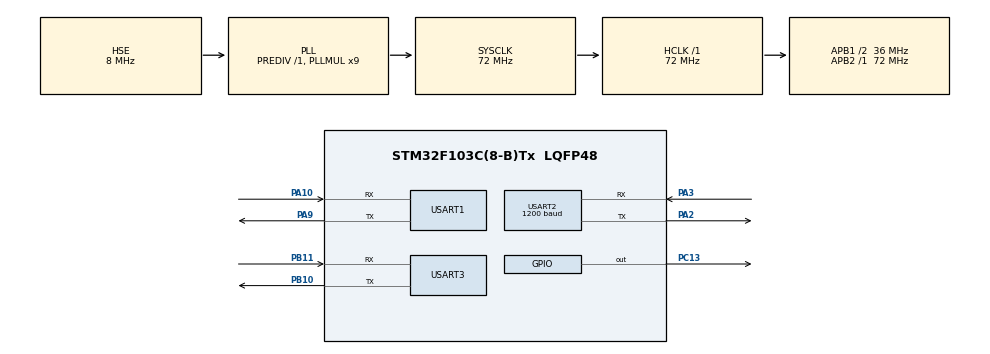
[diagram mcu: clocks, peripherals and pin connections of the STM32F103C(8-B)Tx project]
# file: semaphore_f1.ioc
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FREERTOS.Tasks01=defaultTask,0,128,StartDefaultTask,Default,NULL,Dynamic,NULL,NULL
Mcu.Family=STM32F1
Mcu.Name=STM32F103C(8-B)Tx
Mcu.Package=LQFP48
NVIC.PriorityGroup=NVIC_PRIORITYGROUP_4
NVIC.TIM2_IRQn=true\:15\:0\:false\:false\:true\:false\:false\:true\:true
NVIC.TimeBase=TIM2_IRQn
NVIC.TimeBaseIP=TIM2
NVIC.USART1_IRQn=true\:5\:0\:false\:false\:true\:true\:true\:true\:true
NVIC.USART3_IRQn=true\:5\:0\:false\:false\:true\:true\:true\:true\:true
PA10.Mode=Asynchronous
PA10.Signal=USART1_RX
PA13.Mode=Serial_Wire
PA13.Signal=SYS_JTMS-SWDIO
PA14.Mode=Serial_Wire
PA14.Signal=SYS_JTCK-SWCLK
PA2.Mode=Asynchronous
PA2.Signal=USART2_TX
PA3.Mode=Asynchronous
PA3.Signal=USART2_RX
PA9.Mode=Asynchronous
PA9.Signal=USART1_TX
PB10.Mode=Asynchronous
PB10.Signal=USART3_TX
PB11.Mode=Asynchronous
PB11.Signal=USART3_RX
PC13-TAMPER-RTC.Signal=GPIO_Output
PD0-OSC_IN.Mode=HSE-External-Oscillator
PD0-OSC_IN.Signal=RCC_OSC_IN
PD1-OSC_OUT.Mode=HSE-External-Oscillator
PD1-OSC_OUT.Signal=RCC_OSC_OUT
ProjectManager.HeapSize=0x200
ProjectManager.StackSize=0x400
ProjectManager.TargetToolchain=STM32CubeIDE
RCC.AHBFreq_Value=72000000
RCC.APB1CLKDivider=RCC_HCLK_DIV2
RCC.APB1Freq_Value=36000000
RCC.APB1TimFreq_Value=72000000
RCC.APB2Freq_Value=72000000
RCC.APB2TimFreq_Value=72000000
RCC.HCLKFreq_Value=72000000
RCC.PLLMUL=RCC_PLL_MUL9
RCC.PLLSourceVirtual=RCC_PLLSOURCE_HSE
RCC.SYSCLKFreq_VALUE=72000000
RCC.SYSCLKSource=RCC_SYSCLKSOURCE_PLLCLK
RCC.USBFreq_Value=72000000
USART1.VirtualMode=VM_ASYNC
USART2.BaudRate=1200
USART2.VirtualMode=VM_ASYNC
USART3.VirtualMode=VM_ASYNC
VP_FREERTOS_VS_CMSIS_V1.Mode=CMSIS_V1
VP_SYS_VS_tim2.Mode=TIM2
board=custom

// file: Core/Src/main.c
/* USER CODE BEGIN Header */
/**
 ******************************************************************************
 * @file           : main.c
 * @brief          : Main program body
 ******************************************************************************
 * @attention
 *
 * Copyright (c) 2023 STMicroelectronics.
 * All rights reserved.
 *
 * This software is licensed under terms that can be found in the LICENSE file
 * in the root directory of this software component.
 * If no LICENSE file comes with this software, it is provided AS-IS.
 *
 ******************************************************************************
 */
/* USER CODE END Header */
#include "main.h"
#include "cmsis_os.h"

/* USER CODE BEGIN Includes */
#include <stdio.h>
#include <stdlib.h>
#include <string.h>
/* USER CODE END Includes */

UART_HandleTypeDef huart1;
UART_HandleTypeDef huart2;
UART_HandleTypeDef huart3;

osThreadId defaultTaskHandle;
/* USER CODE BEGIN PV */
TaskHandle_t uart1_handle;
TaskHandle_t uart3_handle;

TaskHandle_t receive_handle;

SemaphoreHandle_t mySem_uart1;
SemaphoreHandle_t mySem_uart3;

QueueHandle_t myQueue;

uint8_t data1, data3;
uint8_t index1 = 0, index3 = 0;
uint8_t item1[50] = {0}, item3[50] = {0};

char str[50];
char user_msg[100] = {0};

uint8_t space;
/* USER CODE END PV */

void SystemClock_Config(void);
static void MX_GPIO_Init(void);
static void MX_USART2_UART_Init(void);
static void MX_USART1_UART_Init(void);
static void MX_USART3_UART_Init(void);

/* USER CODE BEGIN PFP */
void receive_uart1(void);
void receive_uart3(void);
void receive_task(void);
/* USER CODE END PFP */

int main(void)
{
  /* USER CODE BEGIN 1 */
  BaseType_t status;
  /* USER CODE END 1 */

  /* MCU Configuration--------------------------------------------------------*/

  /* Reset of all peripherals, Initializes the Flash interface and the Systick. */
  HAL_Init();

  /* Configure the system clock */
  SystemClock_Config();

  /* Initialize all configured peripherals */
  MX_GPIO_Init();
  MX_USART2_UART_Init();
  MX_USART1_UART_Init();
  MX_USART3_UART_Init();

  /* USER CODE BEGIN RTOS_SEMAPHORES */
  /* add semaphores, ... */
  vSemaphoreCreateBinary(mySem_uart1);
  vSemaphoreCreateBinary(mySem_uart3);
  /* USER CODE END RTOS_SEMAPHORES */

  /* USER CODE BEGIN RTOS_QUEUES */
  /* add queues, ... */
  myQueue = xQueueCreate(10, sizeof(item1));
  /* USER CODE END RTOS_QUEUES */

  /* Create the thread(s) */
  /* definition and creation of defaultTask */

  /* USER CODE BEGIN RTOS_THREADS */
  /* add threads, ... */
  if (mySem_uart1 != NULL && mySem_uart3 != NULL && myQueue != NULL)
  {
    status = xTaskCreate(receive_uart1, "Task receive uart 1", 128, NULL, 2, uart1_handle);
    configASSERT(status == pdPASS);
    status = xTaskCreate(receive_uart3, "Task receive uart 3", 128, NULL, 2, uart3_handle);
    configASSERT(status == pdPASS);
    status = xTaskCreate(receive_task, "Task receive", 128, NULL, 1, receive_handle);
    configASSERT(status == pdPASS);
  }
  else
  {
    sprintf(user_msg, "Queue/ Semaphore are not created!\r\n");
    HAL_UART_Transmit(&huart2, (uint8_t *)user_msg, strlen(user_msg), 1000);
  }

  HAL_UART_Receive_IT(&huart1, &data1, 1);
  HAL_UART_Receive_IT(&huart3, &data3, 1);
  /* USER CODE END RTOS_THREADS */

  /* Start scheduler */
  osKernelStart();
  /* We should never get here as control is now taken by the scheduler */
  /* Infinite loop */
  while (1)
  {

  }
}

void SystemClock_Config(void)
{
  RCC_OscInitTypeDef RCC_OscInitStruct = {0};
  RCC_ClkInitTypeDef RCC_ClkInitStruct = {0};

  /** Initializes the RCC Oscillators according to the specified parameters
   * in the RCC_OscInitTypeDef structure.
   */
  RCC_OscInitStruct.OscillatorType = RCC_OSCILLATORTYPE_HSE;
  RCC_OscInitStruct.HSEState = RCC_HSE_ON;
  RCC_OscInitStruct.HSEPredivValue = RCC_HSE_PREDIV_DIV1;
  RCC_OscInitStruct.HSIState = RCC_HSI_ON;
  RCC_OscInitStruct.PLL.PLLState = RCC_PLL_ON;
  RCC_OscInitStruct.PLL.PLLSource = RCC_PLLSOURCE_HSE;
  RCC_OscInitStruct.PLL.PLLMUL = RCC_PLL_MUL9;
  if (HAL_RCC_OscConfig(&RCC_OscInitStruct) != HAL_OK)
  {
    Error_Handler();
  }

  /** Initializes the CPU, AHB and APB buses clocks
   */
  RCC_ClkInitStruct.ClockType = RCC_CLOCKTYPE_HCLK | RCC_CLOCKTYPE_SYSCLK | RCC_CLOCKTYPE_PCLK1 | RCC_CLOCKTYPE_PCLK2;
  RCC_ClkInitStruct.SYSCLKSource = RCC_SYSCLKSOURCE_PLLCLK;
  RCC_ClkInitStruct.AHBCLKDivider = RCC_SYSCLK_DIV1;
  RCC_ClkInitStruct.APB1CLKDivider = RCC_HCLK_DIV2;
  RCC_ClkInitStruct.APB2CLKDivider = RCC_HCLK_DIV1;

  if (HAL_RCC_ClockConfig(&RCC_ClkInitStruct, FLASH_LATENCY_2) != HAL_OK)
  {
    Error_Handler();
  }
}

static void MX_USART1_UART_Init(void)
{

  huart1.Instance = USART1;
  huart1.Init.BaudRate = 115200;
  huart1.Init.WordLength = UART_WORDLENGTH_8B;
  huart1.Init.StopBits = UART_STOPBITS_1;
  huart1.Init.Parity = UART_PARITY_NONE;
  huart1.Init.Mode = UART_MODE_TX_RX;
  huart1.Init.HwFlowCtl = UART_HWCONTROL_NONE;
  huart1.Init.OverSampling = UART_OVERSAMPLING_16;
  if (HAL_UART_Init(&huart1) != HAL_OK)
  {
    Error_Handler();
  }
}

static void MX_USART2_UART_Init(void)
{

  huart2.Instance = USART2;
  huart2.Init.BaudRate = 1200;
  huart2.Init.WordLength = UART_WORDLENGTH_8B;
  huart2.Init.StopBits = UART_STOPBITS_1;
  huart2.Init.Parity = UART_PARITY_NONE;
  huart2.Init.Mode = UART_MODE_TX_RX;
  huart2.Init.HwFlowCtl = UART_HWCONTROL_NONE;
  huart2.Init.OverSampling = UART_OVERSAMPLING_16;
  if (HAL_UART_Init(&huart2) != HAL_OK)
  {
    Error_Handler();
  }
}

static void MX_USART3_UART_Init(void)
{

  huart3.Instance = USART3;
  huart3.Init.BaudRate = 115200;
  huart3.Init.WordLength = UART_WORDLENGTH_8B;
  huart3.Init.StopBits = UART_STOPBITS_1;
  huart3.Init.Parity = UART_PARITY_NONE;
  huart3.Init.Mode = UART_MODE_TX_RX;
  huart3.Init.HwFlowCtl = UART_HWCONTROL_NONE;
  huart3.Init.OverSampling = UART_OVERSAMPLING_16;
  if (HAL_UART_Init(&huart3) != HAL_OK)
  {
    Error_Handler();
  }
}

static void MX_GPIO_Init(void)
{
  GPIO_InitTypeDef GPIO_InitStruct = {0};

  /* GPIO Ports Clock Enable */
  __HAL_RCC_GPIOC_CLK_ENABLE();
  __HAL_RCC_GPIOD_CLK_ENABLE();
  __HAL_RCC_GPIOA_CLK_ENABLE();
  __HAL_RCC_GPIOB_CLK_ENABLE();

  /*Configure GPIO pin Output Level */
  HAL_GPIO_WritePin(GPIOC, GPIO_PIN_13, GPIO_PIN_RESET);

  /*Configure GPIO pin : PC13 */
  GPIO_InitStruct.Pin = GPIO_PIN_13;
  GPIO_InitStruct.Mode = GPIO_MODE_OUTPUT_PP;
  GPIO_InitStruct.Pull = GPIO_NOPULL;
  GPIO_InitStruct.Speed = GPIO_SPEED_FREQ_LOW;
  HAL_GPIO_Init(GPIOC, &GPIO_InitStruct);

}

/* USER CODE BEGIN 4 */
void HAL_UART_RxCpltCallback(UART_HandleTypeDef *huart)
{
  BaseType_t xHigherPriorityTaskWoken = pdFAIL;

  if (huart == &huart1)
  {
    xSemaphoreGiveFromISR(mySem_uart1, &xHigherPriorityTaskWoken);
    HAL_UART_Receive_IT(&huart1, &data1, 1);
  }
  if (huart == &huart3)
  {
    xSemaphoreGiveFromISR(mySem_uart3, &xHigherPriorityTaskWoken);
    HAL_UART_Receive_IT(&huart3, &data3, 1);
  }

  portEND_SWITCHING_ISR(xHigherPriorityTaskWoken);
}

void receive_task(void)
{
  BaseType_t status;
  while (1)
  {
    space = uxQueueSpacesAvailable(myQueue);
    if (space == 0)
    {
      HAL_GPIO_WritePin(GPIOC, GPIO_PIN_13, GPIO_PIN_SET);
    }
    else
    {
      HAL_GPIO_WritePin(GPIOC, GPIO_PIN_13, GPIO_PIN_RESET);
    }
    status = xQueueReceive(myQueue, &str, 1000);
    if (status == pdPASS)
    {
      sprintf(user_msg, "Space of queue: %d\r\n", space);
      HAL_UART_Transmit(&huart2, (uint8_t *)str, 50, 1000);
      HAL_UART_Transmit(&huart2, (uint8_t *)user_msg, 50, 1000);
    }
  }
}

void receive_uart1(void)
{
  while (1)
  {
    if (xSemaphoreTake(mySem_uart1, 1000) == pdPASS)
    {
      if (data1 == '\n')
      {
        xQueueSend(myQueue, &item1, portMAX_DELAY);
        index1 = 0;
        memset(item1, 0, sizeof(item1));
      }
      else
      {
        item1[index1++] = data1;
      }
    }
  }
}

void receive_uart3(void)
{
  while (1)
  {
    if (xSemaphoreTake(mySem_uart3, 1000) == pdPASS)
    {
      if (data3 == '\n')
      {
        xQueueSend(myQueue, &item3, portMAX_DELAY);
        index3 = 0;
        memset(item3, 0, sizeof(item3));
      }
      else
      {
        item3[index3++] = data3;
      }
    }
  }
}

/* USER CODE END 4 */

void HAL_TIM_PeriodElapsedCallback(TIM_HandleTypeDef *htim)
{
  if (htim->Instance == TIM2)
  {
    HAL_IncTick();
  }
}

void Error_Handler(void)
{
  __disable_irq();
  while (1)
  {
  }
}
